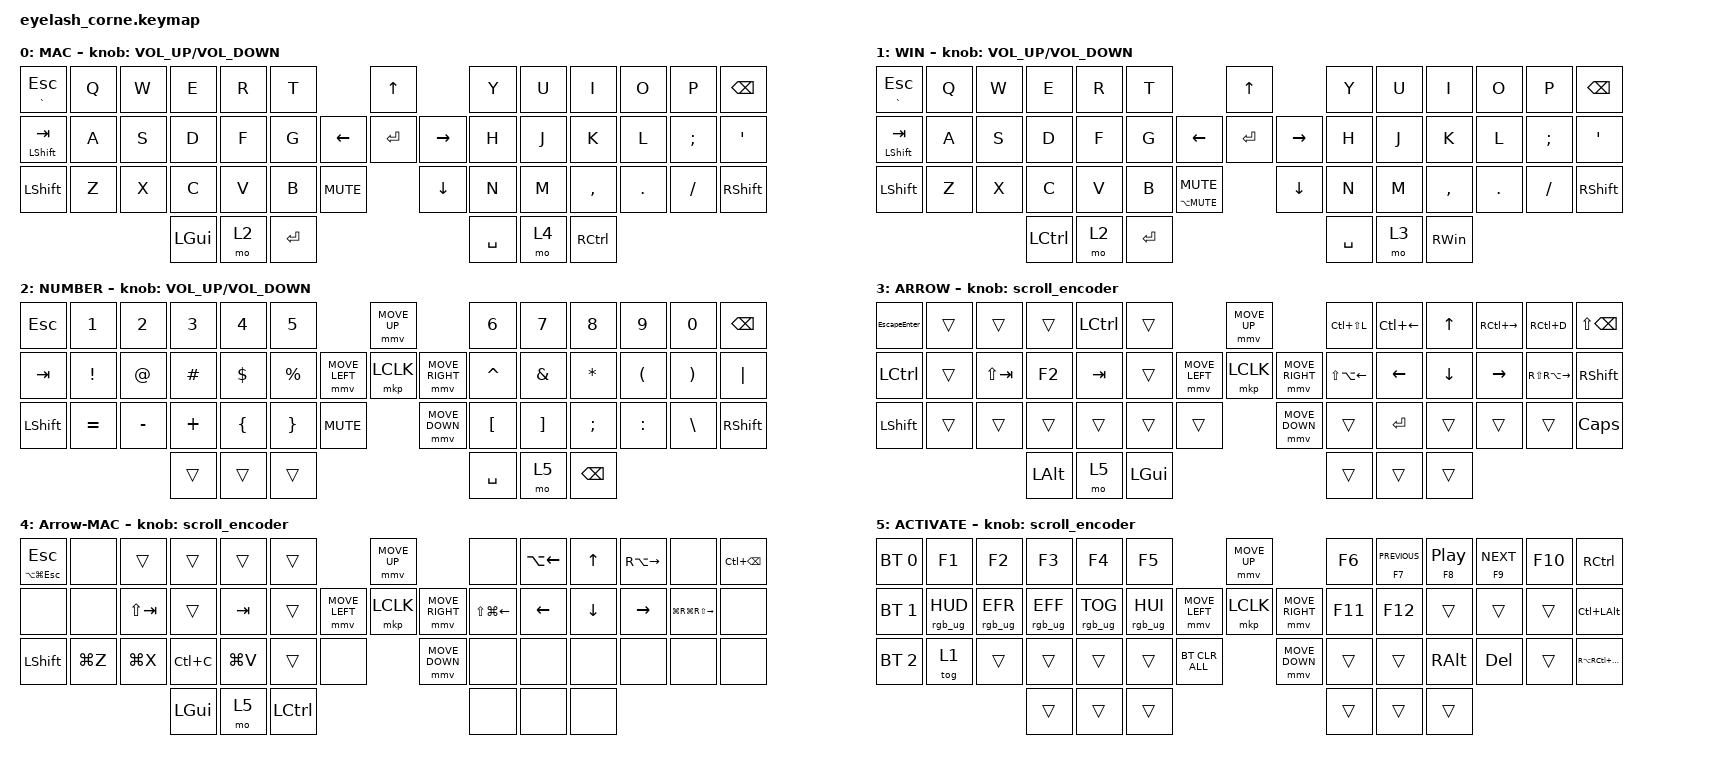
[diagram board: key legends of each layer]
#include <dt-bindings/zmk/mouse.h>
#include <input/processors.dtsi>
#include <behaviors.dtsi>
#include <dt-bindings/zmk/bt.h>
#include <dt-bindings/zmk/keys.h>
#include <dt-bindings/zmk/pointing.h>
#include <dt-bindings/zmk/rgb.h>

/*

   &mmv_input_listener {
       input-processors = <&zip_xy_scaler 2 1>;
   };

   &msc_input_listener {
       input-processors = <&zip_xy_scaler 2 1>;
   };

 */

#define ZMK_MOUSE_DEFAULT_MOVE_VAL 1200  // 600
#define ZMK_MOUSE_DEFAULT_SCRL_VAL 20    // 10

/ {
    behaviors {
        td0: td0 {
            compatible = "zmk,behavior-tap-dance";
            display-name = "Shift/Caps Lock Tap Dance";
            #binding-cells = <0>;
            bindings = <&kp LEFT_SHIFT>, <&kp CAPS>;
        };
    };

    rgb_encoder: rgb_encoder {
        compatible = "zmk,behavior-sensor-rotate";
        #sensor-binding-cells = <0>;
        bindings = <&rgb_ug RGB_BRI>, <&rgb_ug RGB_BRD>;
    };

    scroll_encoder: scroll_encoder {
        compatible = "zmk,behavior-sensor-rotate";
        #sensor-binding-cells = <0>;
        bindings = <&msc SCRL_DOWN>, <&msc SCRL_UP>;

        tap-ms = <30>;
    };

    macros {
        EscapeEnter: EscapeEnter {
            compatible = "zmk,behavior-macro";
            #binding-cells = <0>;
            bindings = <&kp ESCAPE &kp ENTER>;
            label = "ESCAPEENTER";
        };
    };

    keymap {
        compatible = "zmk,keymap";

        MAC {
            display-name = "MAC";
            bindings = <
&mt GRAVE ESC       &kp Q  &kp W  &kp E     &kp R  &kp T                              &kp UP                &kp Y      &kp U  &kp I              &kp O    &kp P          &kp BACKSPACE
&mt LEFT_SHIFT TAB  &kp A  &kp S  &kp D     &kp F  &kp G                    &kp LEFT  &kp ENTER  &kp RIGHT  &kp H      &kp J  &kp K              &kp L    &kp SEMICOLON  &kp SQT
&kp LEFT_SHIFT      &kp Z  &kp X  &kp C     &kp V  &kp B      &kp C_MUTE              &kp DOWN              &kp N      &kp M  &kp COMMA          &kp DOT  &kp FSLH       &kp RIGHT_SHIFT
                                  &kp LGUI  &mo 2  &kp ENTER                                                &kp SPACE  &mo 4  &kp RIGHT_CONTROL
            >;

            sensor-bindings = <&inc_dec_kp C_VOLUME_UP C_VOLUME_DOWN>;
        };

        WIN {
            display-name = "WIN";
            bindings = <
&mt GRAVE ESC       &kp Q  &kp W  &kp E             &kp R  &kp T                                         &kp UP                &kp Y      &kp U  &kp I          &kp O       &kp P     &kp BACKSPACE
&mt LEFT_SHIFT TAB  &kp A  &kp S  &kp D             &kp F  &kp G                               &kp LEFT  &kp ENTER  &kp RIGHT  &kp H      &kp J  &kp K          &kp L       &kp SEMI  &kp SQT
&kp LEFT_SHIFT      &kp Z  &kp X  &kp C             &kp V  &kp B      &mt LA(C_MUTE) C_MUTE              &kp DOWN              &kp N      &kp M  &kp COMMA      &kp PERIOD  &kp FSLH  &kp RIGHT_SHIFT
                                  &kp LEFT_CONTROL  &mo 2  &kp ENTER                                                           &kp SPACE  &mo 3  &kp RIGHT_WIN
            >;

            sensor-bindings = <&inc_dec_kp C_VOLUME_UP C_VOLUME_DOWN>;
        };

        NUMBER {
            display-name = "NUMBER";
            bindings = <
&kp ESC         &kp N1           &kp N2       &kp N3    &kp N4          &kp N5                                         &mmv MOVE_UP                     &kp N6            &kp N7             &kp N8         &kp N9                &kp N0                 &kp BACKSPACE
&kp TAB         &kp EXCLAMATION  &kp AT_SIGN  &kp HASH  &kp DOLLAR      &kp PERCENT                    &mmv MOVE_LEFT  &mkp LCLK       &mmv MOVE_RIGHT  &kp CARET         &kp AMPERSAND      &kp ASTERISK   &kp LEFT_PARENTHESIS  &kp RIGHT_PARENTHESIS  &kp PIPE
&kp LEFT_SHIFT  &kp EQUAL        &kp MINUS    &kp PLUS  &kp LEFT_BRACE  &kp RIGHT_BRACE  &kp C_MUTE                    &mmv MOVE_DOWN                   &kp LEFT_BRACKET  &kp RIGHT_BRACKET  &kp SEMICOLON  &kp COLON             &kp BACKSLASH          &kp RIGHT_SHIFT
                                              &trans    &trans          &trans                                                                          &kp SPACE         &mo 5              &kp BACKSPACE
            >;

            sensor-bindings = <&inc_dec_kp C_VOLUME_UP C_VOLUME_DOWN>;
        };

        ARROW_WIN {
            display-name = "ARROW";
            bindings = <
&EscapeEnter      &trans  &trans       &trans        &kp LEFT_CONTROL  &trans                                  &mmv MOVE_UP                     &kp LC(LS(L))     &kp LC(LEFT_ARROW)  &kp UP_ARROW    &kp RC(RIGHT)    &kp RC(D)          &kp LS(BACKSPACE)
&kp LEFT_CONTROL  &trans  &kp LS(TAB)  &kp F2        &kp TAB           &trans                  &mmv MOVE_LEFT  &mkp LCLK       &mmv MOVE_RIGHT  &kp LS(LA(LEFT))  &kp LEFT_ARROW      &kp DOWN_ARROW  &kp RIGHT_ARROW  &kp RS(RA(RIGHT))  &kp RIGHT_SHIFT
&kp LEFT_SHIFT    &trans  &trans       &trans        &trans            &trans        &trans                    &mmv MOVE_DOWN                   &trans            &kp ENTER           &trans          &trans           &trans             &kp CAPSLOCK
                                       &kp LEFT_ALT  &mo 5             &kp LEFT_GUI                                                             &trans            &trans              &trans
            >;

            sensor-bindings = <&scroll_encoder>;
        };

        ARROW-MAC {
            display-name = "Arrow-MAC";
            bindings = <
&mt LA(LG(ESC)) ESC  &none      &trans       &trans        &trans     &trans                                     &mmv MOVE_UP                     &none                   &kp LA(LEFT_ARROW)  &kp UP_ARROW    &kp RA(RIGHT)    &none                        &kp LC(BACKSPACE)
&none                &none      &kp LS(TAB)  &trans        &kp TAB    &trans                     &mmv MOVE_LEFT  &mkp LCLK       &mmv MOVE_RIGHT  &kp LS(LG(LEFT_ARROW))  &kp LEFT_ARROW      &kp DOWN_ARROW  &kp RIGHT_ARROW  &kp LG(RG(RS(RIGHT_ARROW)))  &none
&kp LEFT_SHIFT       &kp LG(Z)  &kp LG(X)    &kp LC(C)     &kp LG(V)  &trans            &none                    &mmv MOVE_DOWN                   &none                   &none               &none           &none            &none                        &none
                                             &kp LEFT_GUI  &mo 5      &kp LEFT_CONTROL                                                            &none                   &none               &none
            >;

            sensor-bindings = <&scroll_encoder>;
        };

        FN {
            display-name = "ACTIVATE";
            bindings = <
&bt BT_SEL 0  &kp F1           &kp F2           &kp F3           &kp F4           &kp F5                                             &mmv MOVE_UP                     &kp F6   &mt F7 C_PREVIOUS  &mt F8 C_PLAY_PAUSE  &mt F9 C_NEXT  &kp F10  &kp RIGHT_CONTROL
&bt BT_SEL 1  &rgb_ug RGB_HUD  &rgb_ug RGB_EFR  &rgb_ug RGB_EFF  &rgb_ug RGB_TOG  &rgb_ug RGB_HUI                    &mmv MOVE_LEFT  &mkp LCLK       &mmv MOVE_RIGHT  &kp F11  &kp F12            &trans               &trans         &trans   &kp LC(LEFT_ALT)
&bt BT_SEL 2  &tog 1           &trans           &trans           &trans           &trans           &bt BT_CLR_ALL                    &mmv MOVE_DOWN                   &trans   &trans             &kp RIGHT_ALT        &kp DEL        &trans   &kp RA(RC(DEL))
                                                &trans           &trans           &trans                                                                              &trans   &trans             &trans
            >;

            sensor-bindings = <&scroll_encoder>;
        };
    };
};
